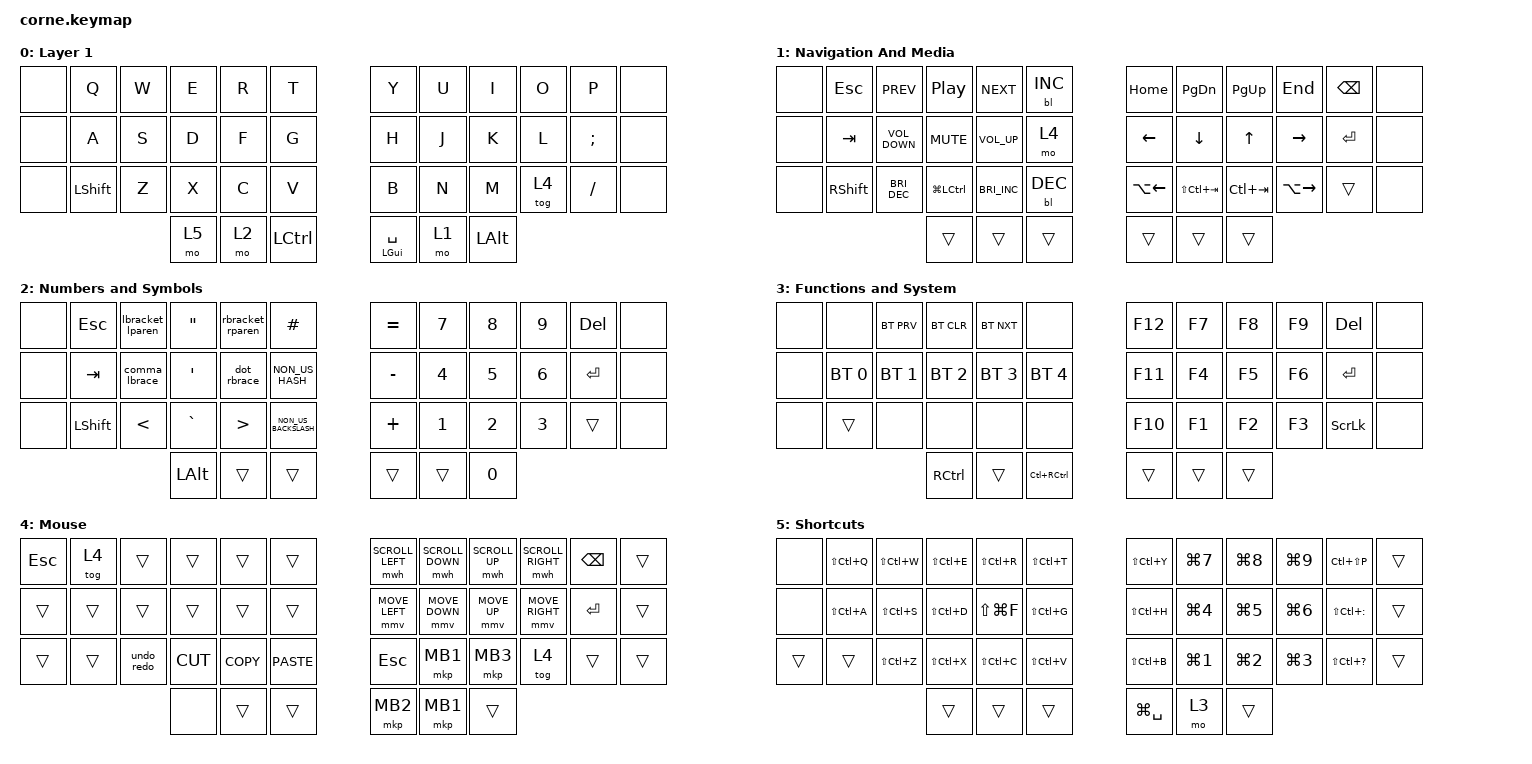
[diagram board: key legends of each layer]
/*
 * Copyright (c) 2020 The ZMK Contributors
 *
 * SPDX-License-Identifier: MIT
 */

#include <dt-bindings/zmk/mouse.h>
#include <behaviors.dtsi>
#include <dt-bindings/zmk/backlight.h>
#include <dt-bindings/zmk/bt.h>
#include <dt-bindings/zmk/keys.h>

/ {
    combos {
        compatible = "zmk,combos";

        caps_word {
            bindings = <&caps_word>;
            key-positions = <2 3 4>;
        };

        FN {
            bindings = <&sl 3>;
            key-positions = <36 37 38>;
        };
    };

    behaviors {
        hold_tap: hold_tap {
            compatible = "zmk,behavior-hold-tap";
            label = "HOLD_TAP";
            bindings = <&kp>, <&kp>;

            #binding-cells = <2>;
            tapping-term-ms = <350>;
            flavor = "tap-preferred";
        };

        comma_lbrace: comma_lbrace {
            compatible = "zmk,behavior-mod-morph";
            label = "COMMA_LBRACE";
            bindings = <&kp COMMA>, <&kp LEFT_BRACE>;

            #binding-cells = <0>;
            mods = <(MOD_LSFT|MOD_RSFT)>;
        };

        dot_rbrace: dot_rbrace {
            compatible = "zmk,behavior-mod-morph";
            label = "DOT_RBRACE";
            bindings = <&kp PERIOD>, <&kp RIGHT_BRACE>;

            #binding-cells = <0>;
            mods = <(MOD_LSFT|MOD_RSFT)>;
        };

        mouse_mod_tap: mouse_mod_tap {
            compatible = "zmk,behavior-hold-tap";
            label = "MOUSE_MOD_TAP";
            bindings = <&mo>, <&kp>;

            #binding-cells = <2>;
            tapping-term-ms = <500>;
            flavor = "tap-preferred";
        };

        undo_redo: undo_redo {
            compatible = "zmk,behavior-mod-morph";
            label = "UNDO_REDO";
            bindings = <&kp K_UNDO>, <&kp K_REDO>;

            #binding-cells = <0>;
            mods = <(MOD_LSFT|MOD_RSFT)>;
        };

        plus_equals: plus_equals {
            compatible = "zmk,behavior-mod-morph";
            label = "PLUS_EQUALS";
            bindings = <&kp PLUS>, <&kp KP_EQUAL>;

            #binding-cells = <0>;
            mods = <(MOD_LSFT|MOD_RSFT)>;
        };

        triple_tap_mouse_layer: triple_tap_mouse_layer {
            compatible = "zmk,behavior-tap-dance";
            label = "TRIPLE_TAP_MOUSE_LAYER";
            #binding-cells = <0>;
            bindings = <&kp FSLH>, <&none>, <&tog 4>;
        };

        lbracket_lparen: lbracket_lparen {
            compatible = "zmk,behavior-mod-morph";
            label = "LBRACKET_LPAREN";
            bindings = <&kp LEFT_BRACKET>, <&kp LEFT_PARENTHESIS>;

            #binding-cells = <0>;
            mods = <(MOD_LSFT|MOD_RSFT)>;
        };

        rbracket_rparen: rbracket_rparen {
            compatible = "zmk,behavior-mod-morph";
            label = "RBRACKET_RPAREN";
            bindings = <&kp RIGHT_BRACKET>, <&kp RIGHT_PARENTHESIS>;

            #binding-cells = <0>;
            mods = <(MOD_LSFT|MOD_RSFT)>;
        };
    };

    keymap {
        compatible = "zmk,keymap";

        alpha {
            // -----------------------------------------------------------------------------------------
            // |  TAB |  Q  |  W  |  E  |  R  |  T  |   |  Y  |  U   |  I  |  O  |  P  | BKSP |
            // | CTRL |  A  |  S  |  D  |  F  |  G  |   |  H  |  J   |  K  |  L  |  ;  |  '   |
            // | SHFT |  Z  |  X  |  C  |  V  |  B  |   |  N  |  M   |  ,  |  .  |  /  | ESC  |
            //                    | GUI | LWR | SPC |   | ENT | RSE  | ALT |

            bindings = <
&none  &kp Q           &kp W  &kp E  &kp R  &kp T        &kp Y                 &kp U  &kp I         &kp O   &kp P     &none
&none  &kp A           &kp S  &kp D  &kp F  &kp G        &kp H                 &kp J  &kp K         &kp L   &kp SEMI  &none
&none  &kp LEFT_SHIFT  &kp Z  &kp X  &kp C  &kp V        &kp B                 &kp N  &kp M         &tog 4  &kp FSLH  &none
                              &mo 5  &mo 2  &kp LCTRL    &hold_tap LGUI SPACE  &mo 1  &kp LEFT_ALT
            >;

            label = "Layer 1";
        };

        nav_media {
            bindings = <
&none  &kp ESC     &kp C_PREV            &kp C_PLAY_PAUSE  &kp C_NEXT            &bl BL_INC    &kp HOME            &kp PAGE_DOWN    &kp PG_UP     &kp END              &kp BACKSPACE  &none
&none  &kp TAB     &kp C_VOLUME_DOWN     &kp C_MUTE        &kp C_VOLUME_UP       &mo 4         &kp LEFT            &kp DOWN_ARROW   &kp UP_ARROW  &kp RIGHT            &kp ENTER      &none
&none  &kp RSHIFT  &kp C_BRIGHTNESS_DEC  &kp LG(LCTRL)     &kp C_BRIGHTNESS_INC  &bl BL_DEC    &kp LA(LEFT_ARROW)  &kp LS(LC(TAB))  &kp LC(TAB)   &kp LA(RIGHT_ARROW)  &trans         &none
                                         &trans            &trans                &trans        &trans              &trans           &trans
            >;

            label = "Navigation And Media";
        };

        num_sym {
            // -----------------------------------------------------------------------------------------
            // |  TAB |  1  |  2  |  3  |  4  |  5  |   |  6  |  7  |  8  |  9  |  0  | BKSP |
            // | BTCLR| BT1 | BT2 | BT3 | BT4 | BT5 |   | LFT | DWN |  UP | RGT |     |      |
            // | SHFT |     |     |     |     |     |   |     |     |     |     |     |      |
            //                    | GUI |     | SPC |   | ENT |     | ALT |

            bindings = <
&none  &kp ESCAPE      &lbracket_lparen  &kp DOUBLE_QUOTES  &rbracket_rparen  &kp HASH                &kp EQUAL  &kp N7        &kp N8        &kp N9        &kp DELETE  &none
&none  &kp TAB         &comma_lbrace     &kp SINGLE_QUOTE   &dot_rbrace       &kp NON_US_HASH         &kp MINUS  &kp N4        &kp N5        &kp N6        &kp RET     &none
&none  &kp LEFT_SHIFT  &kp LESS_THAN     &kp GRAVE          &kp GREATER_THAN  &kp NON_US_BACKSLASH    &kp PLUS   &kp NUMBER_1  &kp NUMBER_2  &kp NUMBER_3  &trans      &none
                                         &kp LEFT_ALT       &trans            &trans                  &trans     &trans        &kp N0
            >;

            label = "Numbers and Symbols";
        };

        fn {
            bindings = <
&none  &none         &bt BT_PRV    &bt BT_CLR    &bt BT_NXT    &none            &kp F12  &kp F7  &kp F8  &kp F9  &kp DELETE      &none
&none  &bt BT_SEL 0  &bt BT_SEL 1  &bt BT_SEL 2  &bt BT_SEL 3  &bt BT_SEL 4     &kp F11  &kp F4  &kp F5  &kp F6  &kp RET         &none
&none  &trans        &none         &none         &none         &none            &kp F10  &kp F1  &kp F2  &kp F3  &kp SCROLLLOCK  &none
                                   &kp RCTRL     &trans        &kp LC(RCTRL)    &trans   &trans  &trans
            >;

            label = "Functions and System";
        };

        mouse {
            bindings = <
&kp ESCAPE  &tog 4  &trans      &trans     &trans      &trans         &mwh SCROLL_LEFT  &mwh SCROLL_DOWN  &mwh SCROLL_UP  &mwh SCROLL_RIGHT  &kp BACKSPACE  &trans
&trans      &trans  &trans      &trans     &trans      &trans         &mmv MOVE_LEFT    &mmv MOVE_DOWN    &mmv MOVE_UP    &mmv MOVE_RIGHT    &kp ENTER      &trans
&trans      &trans  &undo_redo  &kp K_CUT  &kp K_COPY  &kp K_PASTE    &kp ESCAPE        &mkp MB1          &mkp MB3        &tog 4             &trans         &trans
                                &none      &trans      &trans         &mkp MB2          &mkp MB1          &trans
            >;

            label = "Mouse";
        };

        scts {
            bindings = <
&none   &kp LS(LC(Q))  &kp LS(LC(W))  &kp LS(LC(E))  &kp LS(LC(R))  &kp LS(LC(T))    &kp LS(LC(Y))  &kp LG(N7)  &kp LG(N8)  &kp LG(N9)  &kp LC(LS(P))      &trans
&none   &kp LS(LC(A))  &kp LS(LC(S))  &kp LS(LC(D))  &kp LS(LG(F))  &kp LS(LC(G))    &kp LS(LC(H))  &kp LG(N4)  &kp LG(N5)  &kp LG(N6)  &kp LS(LC(COLON))  &trans
&trans  &trans         &kp LS(LC(Z))  &kp LS(LC(X))  &kp LS(LC(C))  &kp LS(LC(V))    &kp LS(LC(B))  &kp LG(N1)  &kp LG(N2)  &kp LG(N3)  &kp LS(LC(QMARK))  &trans
                                      &trans         &trans         &trans           &kp LG(SPACE)  &mo 3       &trans
            >;

            label = "Shortcuts";
        };
    };

    conditional_layers { compatible = "zmk,conditional-layers"; };
};
